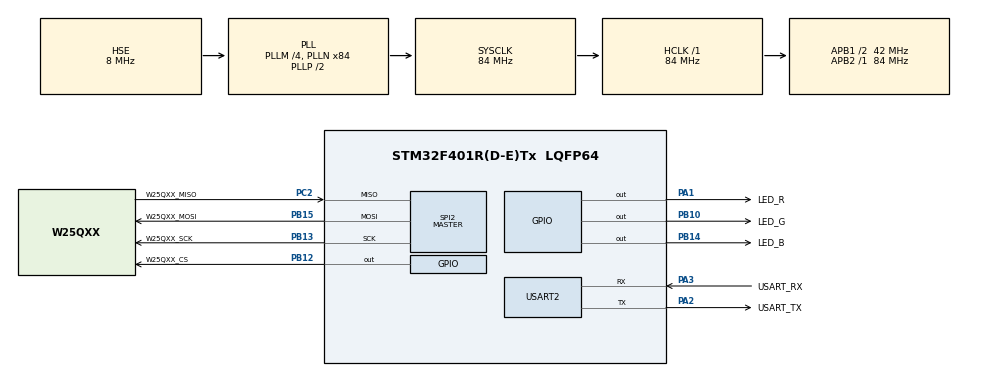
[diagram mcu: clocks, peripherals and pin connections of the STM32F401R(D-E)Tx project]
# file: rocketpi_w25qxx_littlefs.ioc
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Mcu.Family=STM32F4
Mcu.Name=STM32F401R(D-E)Tx
Mcu.Package=LQFP64
NVIC.PriorityGroup=NVIC_PRIORITYGROUP_4
PA1.GPIO_Label=LED_R
PA1.Signal=GPIO_Output
PA13.GPIO_Label=TMS
PA13.Mode=Serial_Wire
PA13.Signal=SYS_JTMS-SWDIO
PA14.GPIO_Label=TCK
PA14.Mode=Serial_Wire
PA14.Signal=SYS_JTCK-SWCLK
PA2.GPIO_Label=USART_TX
PA2.GPIO_Mode=GPIO_MODE_AF_PP
PA2.GPIO_PuPd=GPIO_NOPULL
PA2.GPIO_Speed=GPIO_SPEED_FREQ_LOW
PA2.Mode=Asynchronous
PA2.Signal=USART2_TX
PA3.GPIO_Label=USART_RX
PA3.GPIO_Mode=GPIO_MODE_AF_PP
PA3.GPIO_PuPd=GPIO_NOPULL
PA3.GPIO_Speed=GPIO_SPEED_FREQ_LOW
PA3.Mode=Asynchronous
PA3.Signal=USART2_RX
PB10.GPIO_Label=LED_G
PB10.Signal=GPIO_Output
PB12.GPIO_Label=W25QXX_CS
PB12.Signal=GPIO_Output
PB13.GPIO_Label=W25QXX_SCK
PB13.Mode=Full_Duplex_Master
PB13.Signal=SPI2_SCK
PB14.GPIO_Label=LED_B
PB14.Signal=GPIO_Output
PB15.GPIO_Label=W25QXX_MOSI
PB15.Mode=Full_Duplex_Master
PB15.Signal=SPI2_MOSI
PC2.GPIO_Label=W25QXX_MISO
PC2.Mode=Full_Duplex_Master
PC2.Signal=SPI2_MISO
PH0\ -\ OSC_IN.Mode=HSE-External-Oscillator
PH0\ -\ OSC_IN.Signal=RCC_OSC_IN
PH1\ -\ OSC_OUT.Mode=HSE-External-Oscillator
PH1\ -\ OSC_OUT.Signal=RCC_OSC_OUT
ProjectManager.HeapSize=0x800
ProjectManager.StackSize=0x800
ProjectManager.TargetToolchain=MDK-ARM V5.27
RCC.48MHZClocksFreq_Value=24000000
RCC.AHBFreq_Value=84000000
RCC.APB1CLKDivider=RCC_HCLK_DIV2
RCC.APB1Freq_Value=42000000
RCC.APB1TimFreq_Value=84000000
RCC.APB2Freq_Value=84000000
RCC.APB2TimFreq_Value=84000000
RCC.CortexFreq_Value=84000000
RCC.HCLKFreq_Value=84000000
RCC.HSE_VALUE=8000000
RCC.HSI_VALUE=16000000
RCC.LSE_VALUE=32768
RCC.PLLM=4
RCC.PLLN=84
RCC.PLLQ=7
RCC.PLLSourceVirtual=RCC_PLLSOURCE_HSE
RCC.SYSCLKFreq_VALUE=84000000
RCC.SYSCLKSource=RCC_SYSCLKSOURCE_PLLCLK
RCC.VCOOutputFreq_Value=168000000
SPI2.BaudRatePrescaler=SPI_BAUDRATEPRESCALER_4
SPI2.CLKPhase=SPI_PHASE_1EDGE
SPI2.CLKPolarity=SPI_POLARITY_LOW
SPI2.Direction=SPI_DIRECTION_2LINES
SPI2.Mode=SPI_MODE_MASTER
SPI2.VirtualType=VM_MASTER
USART2.VirtualMode=VM_ASYNC
board=NUCLEO-F401RE

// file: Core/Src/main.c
/* USER CODE BEGIN Header */
/**
  ******************************************************************************
  * @file           : main.c
  * @brief          : Main program body
  ******************************************************************************
  * @attention
  *
  * Copyright (c) 2025 STMicroelectronics.
  * All rights reserved.
  *
  * This software is licensed under terms that can be found in the LICENSE file
  * in the root directory of this software component.
  * If no LICENSE file comes with this software, it is provided AS-IS.
  *
  ******************************************************************************
  */
/* USER CODE END Header */
#include "main.h"
#include "spi.h"
#include "usart.h"
#include "gpio.h"

/* USER CODE BEGIN Includes */
#include <string.h>
#include <stdbool.h>

#define LFS_NOR_FLASH_TOTAL_SIZE (8UL * 1024UL * 1024UL) /* W25Q64 = 8 MiB */
#include "lfs_nor_flash_port.h"
#include "lfs_port.h"
#include "lfs_flash_port.h"
#include "debug_driver.h"
/* USER CODE END Includes */

/* USER CODE BEGIN PV */
static lfs_t g_lfs;
/* USER CODE END PV */

void SystemClock_Config(void);
/* USER CODE BEGIN PFP */
static void LittleFS_Test(bool use_nor_flash);
/* USER CODE END PFP */

/* USER CODE BEGIN 0 */

typedef struct {
  int (*format)(lfs_t *lfs);
  int (*mount)(lfs_t *lfs);
  int (*unmount)(lfs_t *lfs);
  const char *label;
} lfs_storage_ops_t;

static void LittleFS_Test(bool use_nor_flash)
{
  struct lfs_file file;
  char read_buffer[64] = {0};
  const char *path = use_nor_flash ? "nor_flash.txt" : "int_flash.txt";
  const char *payload = use_nor_flash
                          ? "LittleFS NOR Flash Demo\r\n"
                          : "LittleFS Internal Flash Demo\r\n";

  const lfs_storage_ops_t ops = use_nor_flash
                                  ? (lfs_storage_ops_t){lfs_nor_flash_port_format, lfs_nor_flash_port_mount, lfs_nor_flash_port_unmount, "NOR"}
                                  : (lfs_storage_ops_t){lfs_flash_port_format, lfs_flash_port_mount, lfs_flash_port_unmount, "INT"};

  int err = ops.mount(&g_lfs);
  if (err != LFS_ERR_OK) {
    uart_printf("[%s] mount failed (%d), formatting...\r\n", ops.label, err);
    err = ops.format(&g_lfs);
    if (err == LFS_ERR_OK) {
      uart_printf("[%s] format done\r\n", ops.label);
      err = ops.mount(&g_lfs);
    } else {
      uart_printf("[%s] format failed (%d)\r\n", ops.label, err);
    }
  }

  if (err != LFS_ERR_OK) {
    uart_printf("[%s] mount failed (%d)\r\n", ops.label, err);
    return;
  }

  err = lfs_file_open(&g_lfs, &file, path,
                      LFS_O_WRONLY | LFS_O_CREAT | LFS_O_TRUNC);
  if (err < 0) {
    uart_printf("[%s] open for write failed (%d)\r\n", ops.label, err);
    ops.unmount(&g_lfs);
    return;
  }

  lfs_ssize_t written = lfs_file_write(&g_lfs, &file, payload, strlen(payload));
  lfs_file_close(&g_lfs, &file);

  if (written < 0) {
    uart_printf("[%s] write failed (%ld)\r\n", ops.label, (long)written);
    ops.unmount(&g_lfs);
    return;
  }

  err = lfs_file_open(&g_lfs, &file, path, LFS_O_RDONLY);
  if (err < 0) {
    uart_printf("[%s] open for read failed (%d)\r\n", ops.label, err);
    ops.unmount(&g_lfs);
    return;
  }

  lfs_ssize_t read = lfs_file_read(&g_lfs, &file, read_buffer,
                                   sizeof(read_buffer) - 1U);
  lfs_file_close(&g_lfs, &file);

  if (read < 0) {
    uart_printf("[%s] read failed (%ld)\r\n", ops.label, (long)read);
    ops.unmount(&g_lfs);
    return;
  }

  read_buffer[read] = '\0';
  uart_printf("[%s] LittleFS OK (%ld bytes): %s\r\n", ops.label, (long)read, read_buffer);

  ops.unmount(&g_lfs);
}

/* USER CODE END 0 */

int main(void)
{

  /* MCU Configuration--------------------------------------------------------*/

  /* Reset of all peripherals, Initializes the Flash interface and the Systick. */
  HAL_Init();

  /* Configure the system clock */
  SystemClock_Config();

  /* Initialize all configured peripherals */
  MX_GPIO_Init();
  MX_USART2_UART_Init();
  MX_SPI2_Init();
  /* USER CODE BEGIN 2 */
	HAL_Delay(500);
  LittleFS_Test(false); /* internal Flash */
  LittleFS_Test(true);  /* external NOR Flash*/
  /* USER CODE END 2 */

  /* Infinite loop */
  while (1)
  {

  }
}

void SystemClock_Config(void)
{
  RCC_OscInitTypeDef RCC_OscInitStruct = {0};
  RCC_ClkInitTypeDef RCC_ClkInitStruct = {0};

  /** Configure the main internal regulator output voltage
  */
  __HAL_RCC_PWR_CLK_ENABLE();
  __HAL_PWR_VOLTAGESCALING_CONFIG(PWR_REGULATOR_VOLTAGE_SCALE2);

  /** Initializes the RCC Oscillators according to the specified parameters
  * in the RCC_OscInitTypeDef structure.
  */
  RCC_OscInitStruct.OscillatorType = RCC_OSCILLATORTYPE_HSE;
  RCC_OscInitStruct.HSEState = RCC_HSE_ON;
  RCC_OscInitStruct.PLL.PLLState = RCC_PLL_ON;
  RCC_OscInitStruct.PLL.PLLSource = RCC_PLLSOURCE_HSE;
  RCC_OscInitStruct.PLL.PLLM = 4;
  RCC_OscInitStruct.PLL.PLLN = 84;
  RCC_OscInitStruct.PLL.PLLP = RCC_PLLP_DIV2;
  RCC_OscInitStruct.PLL.PLLQ = 7;
  if (HAL_RCC_OscConfig(&RCC_OscInitStruct) != HAL_OK)
  {
    Error_Handler();
  }

  /** Initializes the CPU, AHB and APB buses clocks
  */
  RCC_ClkInitStruct.ClockType = RCC_CLOCKTYPE_HCLK|RCC_CLOCKTYPE_SYSCLK
                              |RCC_CLOCKTYPE_PCLK1|RCC_CLOCKTYPE_PCLK2;
  RCC_ClkInitStruct.SYSCLKSource = RCC_SYSCLKSOURCE_PLLCLK;
  RCC_ClkInitStruct.AHBCLKDivider = RCC_SYSCLK_DIV1;
  RCC_ClkInitStruct.APB1CLKDivider = RCC_HCLK_DIV2;
  RCC_ClkInitStruct.APB2CLKDivider = RCC_HCLK_DIV1;

  if (HAL_RCC_ClockConfig(&RCC_ClkInitStruct, FLASH_LATENCY_2) != HAL_OK)
  {
    Error_Handler();
  }
}

void Error_Handler(void)
{
  __disable_irq();
  while (1)
  {
  }
}
